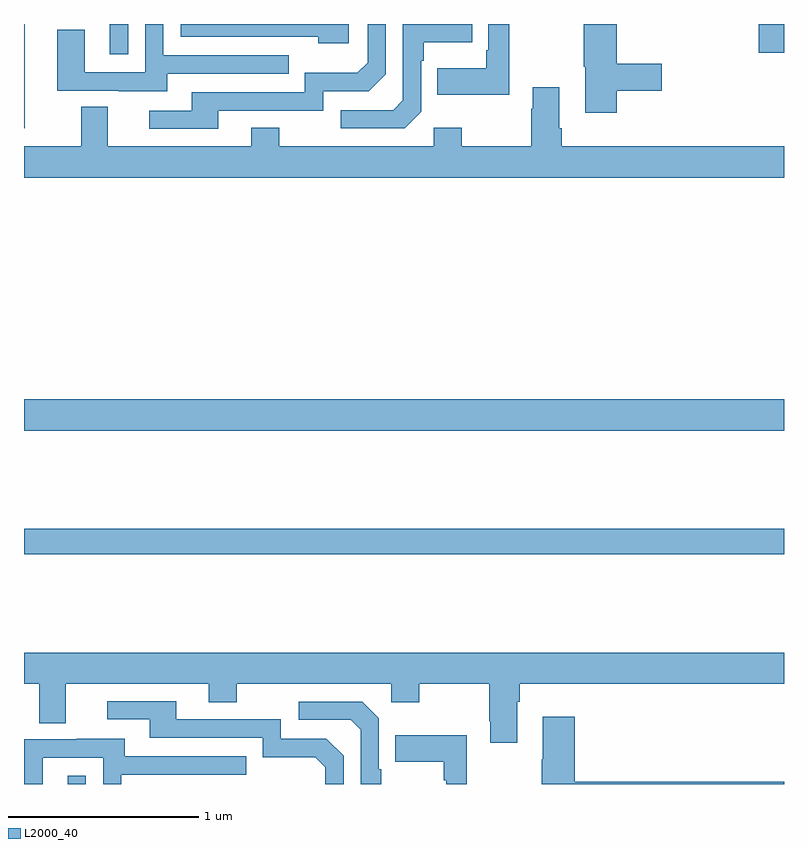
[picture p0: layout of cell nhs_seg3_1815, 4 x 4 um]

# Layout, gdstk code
import gdstk
lib = gdstk.Library(unit=1e-6, precision=1e-09)
def R(c, l, rs):  # rectangles x0, y0, x1, y1
    for r in rs: c.add(gdstk.rectangle(r[:2], r[2:], *l))
def P(c, l, *ps):  # polygons
    for p in ps: c.add(gdstk.Polygon(p, *l))
L2000_40 = (2000, 40)

nhs_seg3_1815 = lib.new_cell('nhs_seg3_1815')
R(nhs_seg3_1815, L2000_40, [(205.229,688.4,205.326,688.444), (205,689.608,209,689.744), (205,690.26,209,690.424), (205,691.851,205.003,692.4), (208.866,692.249,209,692.4)])
P(nhs_seg3_1815, L2000_40, [(206.71,692.4),(205.824,692.4),(205.824,692.334),(206.549,692.334),(206.549,692.3),(206.71,692.3)],
  [(207.09,691.938),(207.09,692.207),(207.103,692.207),(207.103,692.303),(207.359,692.303),(207.359,692.4),(206.994,692.4),(206.994,691.998),(206.943,691.947),(206.667,691.947),(206.667,691.851),(207.003,691.851)],
  [(205.753,692.139),(206.393,692.139),(206.393,692.235),(205.734,692.235),(205.734,692.4),(205.638,692.4),(205.638,692.145),(205.32,692.145),(205.32,692.369),(205.175,692.369),(205.175,692.049),(205.499,692.049),(205.499,692.045),(205.753,692.045)],
  [(207.553,692.4),(207.444,692.4),(207.444,692.263),(207.432,692.263),(207.432,692.167),(207.175,692.167),(207.175,692.027),(207.553,692.027)],
  [(205.548,692.4),(205.448,692.4),(205.451,692.397),(205.451,692.241),(205.548,692.241)],
  [(206.023,691.944),(206.574,691.944),(206.574,692.046),(206.814,692.046),(206.904,692.136),(206.904,692.4),(206.808,692.4),(206.808,692.196),(206.755,692.143),(206.478,692.143),(206.478,692.04),(205.883,692.04),(205.883,691.944),(205.659,691.944),(205.659,691.848),(206.023,691.848)],
  [(208.121,692.05),(208.357,692.05),(208.357,692.192),(208.121,692.192),(208.121,692.4),(207.946,692.4),(207.946,692.175),(207.953,692.175),(207.953,691.932),(208.121,691.932)],
  [(209,691.756),(207.83,691.756),(207.83,691.852),(207.817,691.852),(207.817,692.068),(207.677,692.068),(207.677,691.955),(207.67,691.955),(207.67,691.756),(207.303,691.756),(207.303,691.855),(207.156,691.855),(207.156,691.756),(206.343,691.756),(206.343,691.855),(206.195,691.855),(206.195,691.756),(205.441,691.756),(205.441,691.964),(205.301,691.964),(205.301,691.756),(205,691.756),(205,691.592),(209,691.592)],
  [(207.595,688.832),(207.608,688.832),(207.608,688.928),(209,688.928),(209,689.092),(205,689.092),(205,688.928),(205.079,688.928),(205.079,688.72),(205.219,688.72),(205.219,688.928),(205.973,688.928),(205.973,688.829),(206.121,688.829),(206.121,688.928),(206.934,688.928),(206.934,688.829),(207.081,688.829),(207.081,688.928),(207.448,688.928),(207.448,688.729),(207.455,688.729),(207.455,688.617),(207.595,688.617)],
  [(206.682,688.548),(206.592,688.638),(206.352,688.638),(206.352,688.74),(205.801,688.74),(205.801,688.836),(205.437,688.836),(205.437,688.74),(205.661,688.74),(205.661,688.644),(206.256,688.644),(206.256,688.541),(206.533,688.541),(206.586,688.488),(206.586,688.4),(206.682,688.4)],
  [(206.881,688.477),(206.868,688.477),(206.868,688.746),(206.781,688.833),(206.445,688.833),(206.445,688.737),(206.721,688.737),(206.772,688.686),(206.772,688.4),(206.881,688.4)],
  [(209,688.412),(207.899,688.412),(207.899,688.753),(207.731,688.753),(207.731,688.529),(207.724,688.529),(207.724,688.4),(209,688.4)],
  [(207.331,688.657),(206.953,688.657),(206.953,688.517),(207.21,688.517),(207.21,688.421),(207.222,688.421),(207.222,688.4),(207.331,688.4)],
  [(205.098,688.539),(205.416,688.539),(205.416,688.4),(205.512,688.4),(205.512,688.449),(206.171,688.449),(206.171,688.545),(205.531,688.545),(205.531,688.639),(205.277,688.639),(205.277,688.635),(205,688.635),(205,688.4),(205.098,688.4)])

lib.write_gds('nhs_seg3_1815.gds')
